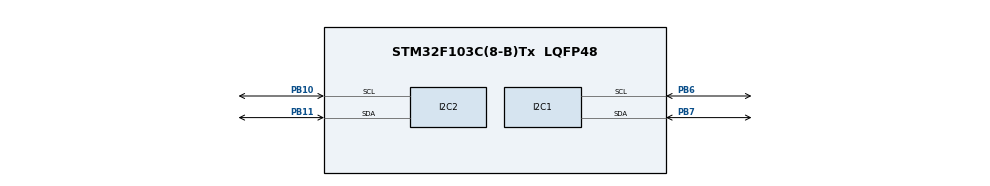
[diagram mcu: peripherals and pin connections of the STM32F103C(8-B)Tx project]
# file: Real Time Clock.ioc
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Mcu.Family=STM32F1
Mcu.Name=STM32F103C(8-B)Tx
Mcu.Package=LQFP48
NVIC.PriorityGroup=NVIC_PRIORITYGROUP_4
PA13.Mode=Serial_Wire
PA13.Signal=SYS_JTMS-SWDIO
PA14.Mode=Serial_Wire
PA14.Signal=SYS_JTCK-SWCLK
PB10.Mode=I2C
PB10.Signal=I2C2_SCL
PB11.Mode=I2C
PB11.Signal=I2C2_SDA
PB6.Mode=I2C
PB6.Signal=I2C1_SCL
PB7.Mode=I2C
PB7.Signal=I2C1_SDA
ProjectManager.HeapSize=0x200
ProjectManager.StackSize=0x400
ProjectManager.TargetToolchain=MDK-ARM V5.27
RCC.APB1Freq_Value=8000000
RCC.APB2Freq_Value=8000000
RCC.SYSCLKSource=RCC_SYSCLKSOURCE_PLLCLK
board=custom

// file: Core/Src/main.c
/* USER CODE BEGIN Header */
/**
  ******************************************************************************
  * @file           : main.c
  * @brief          : Main program body
  ******************************************************************************
  * @attention
  *
  * <h2><center>&copy; Copyright (c) 2023 STMicroelectronics.
  * All rights reserved.</center></h2>
  *
  * This software component is licensed by ST under BSD 3-Clause license,
  * the "License"; You may not use this file except in compliance with the
  * License. You may obtain a copy of the License at:
  *                        opensource.org/licenses/BSD-3-Clause
  *
  ******************************************************************************
  */
/* USER CODE END Header */
#include "main.h"
#include "LiquidCrystal_I2C.h"

I2C_HandleTypeDef hi2c1;
I2C_HandleTypeDef hi2c2;

void SystemClock_Config(void);
static void MX_GPIO_Init(void);
static void MX_I2C2_Init(void);
static void MX_I2C1_Init(void);

/* USER CODE BEGIN 0 */
LiquidCrystal_I2C hlcd;
#define RTC_ADDR	0x68<<1

typedef struct
{
	uint8_t second;
	uint8_t min;
	uint8_t hour;
	uint8_t day;
	uint8_t date;
	uint8_t month;
	uint8_t year;
}DateTime;

uint8_t Decimal2BCD(uint8_t num)
{
  return (num/10)<<4|(num%10);
}
uint8_t BCD2Decimal(uint8_t num) {
 return (num>>4)*10+(num&0x0F);
}

void RTC_Write(DateTime *dt)
{
	uint8_t buff[8];
  buff[0] = 0;
	buff[1] = Decimal2BCD(dt->second);
	buff[2] = Decimal2BCD(dt->min);
	buff[3] = Decimal2BCD(dt->hour);
	buff[4] = Decimal2BCD(dt->day);
	buff[5] = Decimal2BCD(dt->date);
	buff[6] = Decimal2BCD(dt->month);
	buff[7] = Decimal2BCD(dt->year);
	HAL_I2C_Master_Transmit(&hi2c1,RTC_ADDR,buff,8,100);
}
void RTC_Read(DateTime *dt)
{
	uint8_t addr_reg = 0x00;
	uint8_t buff[7];
	HAL_I2C_Master_Transmit(&hi2c1,RTC_ADDR,&addr_reg,1,100);
	HAL_I2C_Master_Receive(&hi2c1,RTC_ADDR,buff,7,100);
	dt->second = BCD2Decimal(buff[0]);
	dt->min = BCD2Decimal(buff[1]);
	dt->hour = BCD2Decimal(buff[2]);
	dt->day = BCD2Decimal(buff[3]);
	dt->date = BCD2Decimal(buff[4]);
	dt->month = BCD2Decimal(buff[5]);
	dt->year = BCD2Decimal(buff[6]);
}
DateTime date_time;
/* USER CODE END 0 */

int main(void)
{

  /* MCU Configuration--------------------------------------------------------*/

  /* Reset of all peripherals, Initializes the Flash interface and the Systick. */
  HAL_Init();

  /* Configure the system clock */
  SystemClock_Config();

  /* Initialize all configured peripherals */
  MX_GPIO_Init();
  MX_I2C2_Init();
  MX_I2C1_Init();
  /* USER CODE BEGIN 2 */

	date_time.hour = 20;
	date_time.min = 48;
	date_time.second = 50;
	date_time.day = 6;
	date_time.date = 13;
	date_time.month = 10;
	date_time.year = 23;
	RTC_Write(&date_time);
	lcd_init(&hlcd, &hi2c2, LCD_ADDR_DEFAULT);

  /* USER CODE END 2 */

  /* Infinite loop */
  while (1)
  {

    /* USER CODE BEGIN 3 */
			RTC_Read(&date_time);
		  lcd_set_cursor(&hlcd, 0,0);
		  lcd_printf(&hlcd, "%2d/%2d/20%2d-Thu %d",date_time.date,date_time.month,date_time.year,date_time.day);
		  lcd_set_cursor(&hlcd, 1,1);
		  lcd_printf(&hlcd, "%2dh. %2dm. %2ds",date_time.hour,date_time.min,date_time.second);
	    HAL_Delay(1000);
  }
  /* USER CODE END 3 */
}

void SystemClock_Config(void)
{
  RCC_OscInitTypeDef RCC_OscInitStruct = {0};
  RCC_ClkInitTypeDef RCC_ClkInitStruct = {0};

  /** Initializes the RCC Oscillators according to the specified parameters
  * in the RCC_OscInitTypeDef structure.
  */
  RCC_OscInitStruct.OscillatorType = RCC_OSCILLATORTYPE_HSI;
  RCC_OscInitStruct.HSIState = RCC_HSI_ON;
  RCC_OscInitStruct.HSICalibrationValue = RCC_HSICALIBRATION_DEFAULT;
  RCC_OscInitStruct.PLL.PLLState = RCC_PLL_ON;
  RCC_OscInitStruct.PLL.PLLSource = RCC_PLLSOURCE_HSI_DIV2;
  RCC_OscInitStruct.PLL.PLLMUL = RCC_PLL_MUL2;
  if (HAL_RCC_OscConfig(&RCC_OscInitStruct) != HAL_OK)
  {
    Error_Handler();
  }
  /** Initializes the CPU, AHB and APB buses clocks
  */
  RCC_ClkInitStruct.ClockType = RCC_CLOCKTYPE_HCLK|RCC_CLOCKTYPE_SYSCLK
                              |RCC_CLOCKTYPE_PCLK1|RCC_CLOCKTYPE_PCLK2;
  RCC_ClkInitStruct.SYSCLKSource = RCC_SYSCLKSOURCE_PLLCLK;
  RCC_ClkInitStruct.AHBCLKDivider = RCC_SYSCLK_DIV1;
  RCC_ClkInitStruct.APB1CLKDivider = RCC_HCLK_DIV1;
  RCC_ClkInitStruct.APB2CLKDivider = RCC_HCLK_DIV1;

  if (HAL_RCC_ClockConfig(&RCC_ClkInitStruct, FLASH_LATENCY_0) != HAL_OK)
  {
    Error_Handler();
  }
}

static void MX_I2C1_Init(void)
{

  hi2c1.Instance = I2C1;
  hi2c1.Init.ClockSpeed = 100000;
  hi2c1.Init.DutyCycle = I2C_DUTYCYCLE_2;
  hi2c1.Init.OwnAddress1 = 0;
  hi2c1.Init.AddressingMode = I2C_ADDRESSINGMODE_7BIT;
  hi2c1.Init.DualAddressMode = I2C_DUALADDRESS_DISABLE;
  hi2c1.Init.OwnAddress2 = 0;
  hi2c1.Init.GeneralCallMode = I2C_GENERALCALL_DISABLE;
  hi2c1.Init.NoStretchMode = I2C_NOSTRETCH_DISABLE;
  if (HAL_I2C_Init(&hi2c1) != HAL_OK)
  {
    Error_Handler();
  }

}

static void MX_I2C2_Init(void)
{

  hi2c2.Instance = I2C2;
  hi2c2.Init.ClockSpeed = 100000;
  hi2c2.Init.DutyCycle = I2C_DUTYCYCLE_2;
  hi2c2.Init.OwnAddress1 = 0;
  hi2c2.Init.AddressingMode = I2C_ADDRESSINGMODE_7BIT;
  hi2c2.Init.DualAddressMode = I2C_DUALADDRESS_DISABLE;
  hi2c2.Init.OwnAddress2 = 0;
  hi2c2.Init.GeneralCallMode = I2C_GENERALCALL_DISABLE;
  hi2c2.Init.NoStretchMode = I2C_NOSTRETCH_DISABLE;
  if (HAL_I2C_Init(&hi2c2) != HAL_OK)
  {
    Error_Handler();
  }

}

static void MX_GPIO_Init(void)
{

  /* GPIO Ports Clock Enable */
  __HAL_RCC_GPIOB_CLK_ENABLE();
  __HAL_RCC_GPIOA_CLK_ENABLE();

}

void Error_Handler(void)
{
}

/************************ (C) COPYRIGHT STMicroelectronics *****END OF FILE****/
